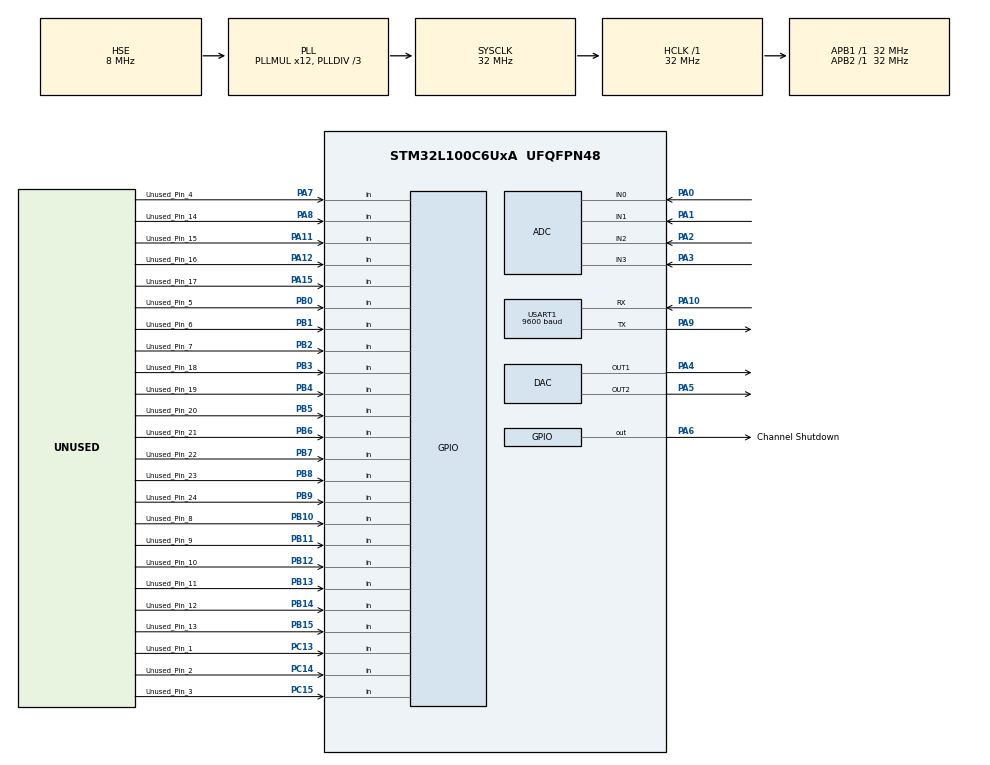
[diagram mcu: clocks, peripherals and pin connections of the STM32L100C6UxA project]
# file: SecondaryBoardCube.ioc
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ADC.Channel-0\#ChannelRegularConversion=ADC_CHANNEL_0
ADC.Channel-1\#ChannelRegularConversion=ADC_CHANNEL_1
ADC.Channel-2\#ChannelRegularConversion=ADC_CHANNEL_2
ADC.Channel-3\#ChannelRegularConversion=ADC_CHANNEL_3
ADC.Channel-4\#ChannelRegularConversion=ADC_CHANNEL_VREFINT
ADC.Channel-5\#ChannelRegularConversion=ADC_CHANNEL_TEMPSENSOR
ADC.ClockPrescaler=ADC_CLOCK_ASYNC_DIV4
ADC.ContinuousConvMode=ENABLE
ADC.DMAContinuousRequests=ENABLE
ADC.EnableAnalogWatchDog=true
ADC.HighThreshold=4095
ADC.ITMode=ENABLE
ADC.NbrOfConversion=6
ADC.NbrOfConversionFlag=1
ADC.Rank-0\#ChannelRegularConversion=1
ADC.Rank-1\#ChannelRegularConversion=2
ADC.Rank-2\#ChannelRegularConversion=3
ADC.Rank-3\#ChannelRegularConversion=4
ADC.Rank-4\#ChannelRegularConversion=5
ADC.Rank-5\#ChannelRegularConversion=6
ADC.SamplingTime-0\#ChannelRegularConversion=ADC_SAMPLETIME_192CYCLES
ADC.SamplingTime-1\#ChannelRegularConversion=ADC_SAMPLETIME_192CYCLES
ADC.SamplingTime-2\#ChannelRegularConversion=ADC_SAMPLETIME_192CYCLES
ADC.SamplingTime-3\#ChannelRegularConversion=ADC_SAMPLETIME_192CYCLES
ADC.SamplingTime-4\#ChannelRegularConversion=ADC_SAMPLETIME_192CYCLES
ADC.SamplingTime-5\#ChannelRegularConversion=ADC_SAMPLETIME_192CYCLES
ADC.ScanConvMode=ADC_SCAN_ENABLE
ADC.WatchdogChannel=ADC_CHANNEL_2
Dma.ADC.0.Direction=DMA_PERIPH_TO_MEMORY
Dma.ADC.0.Instance=DMA1_Channel1
Dma.ADC.0.MemDataAlignment=DMA_MDATAALIGN_HALFWORD
Dma.ADC.0.MemInc=DMA_MINC_ENABLE
Dma.ADC.0.Mode=DMA_CIRCULAR
Dma.ADC.0.PeriphDataAlignment=DMA_PDATAALIGN_HALFWORD
Dma.ADC.0.PeriphInc=DMA_PINC_DISABLE
Dma.ADC.0.Priority=DMA_PRIORITY_LOW
Dma.Request0=ADC
Dma.Request1=USART1_TX
Dma.Request2=USART1_RX
Dma.USART1_RX.2.Direction=DMA_PERIPH_TO_MEMORY
Dma.USART1_RX.2.Instance=DMA1_Channel5
Dma.USART1_RX.2.MemDataAlignment=DMA_MDATAALIGN_BYTE
Dma.USART1_RX.2.MemInc=DMA_MINC_ENABLE
Dma.USART1_RX.2.Mode=DMA_NORMAL
Dma.USART1_RX.2.PeriphDataAlignment=DMA_PDATAALIGN_BYTE
Dma.USART1_RX.2.PeriphInc=DMA_PINC_DISABLE
Dma.USART1_RX.2.Priority=DMA_PRIORITY_LOW
Dma.USART1_TX.1.Direction=DMA_MEMORY_TO_PERIPH
Dma.USART1_TX.1.Instance=DMA1_Channel4
Dma.USART1_TX.1.MemDataAlignment=DMA_MDATAALIGN_BYTE
Dma.USART1_TX.1.MemInc=DMA_MINC_ENABLE
Dma.USART1_TX.1.Mode=DMA_CIRCULAR
Dma.USART1_TX.1.PeriphDataAlignment=DMA_PDATAALIGN_BYTE
Dma.USART1_TX.1.PeriphInc=DMA_PINC_DISABLE
Dma.USART1_TX.1.Priority=DMA_PRIORITY_LOW
Mcu.Family=STM32L1
Mcu.Name=STM32L100C6UxA
Mcu.Package=UFQFPN48
NVIC.ADC1_IRQn=true\:0\:0\:false\:false\:true\:true\:true\:true
NVIC.DMA1_Channel1_IRQn=true\:0\:0\:false\:false\:true\:false\:true\:true
NVIC.DMA1_Channel4_IRQn=true\:0\:0\:false\:false\:true\:false\:true\:true
NVIC.DMA1_Channel5_IRQn=true\:0\:0\:false\:false\:true\:false\:true\:true
NVIC.PriorityGroup=NVIC_PRIORITYGROUP_4
NVIC.USART1_IRQn=true\:0\:0\:false\:false\:true\:true\:true\:true
PA0-WKUP1.Mode=IN0
PA0-WKUP1.Signal=ADC_IN0
PA1.Mode=IN1
PA1.Signal=ADC_IN1
PA10.Mode=Asynchronous
PA10.Signal=USART1_RX
PA11.GPIO_Label=Unused_Pin_15
PA11.Signal=GPIO_Input
PA12.GPIO_Label=Unused_Pin_16
PA12.Signal=GPIO_Input
PA13.Mode=Serial_Wire
PA13.Signal=SYS_JTMS-SWDIO
PA14.Mode=Serial_Wire
PA14.Signal=SYS_JTCK-SWCLK
PA15.GPIO_Label=Unused_Pin_17
PA15.Signal=GPIO_Input
PA2.Mode=IN2
PA2.Signal=ADC_IN2
PA3.Mode=IN3
PA3.Signal=ADC_IN3
PA4.Signal=COMP_DAC1_group
PA5.Signal=COMP_DAC2_group
PA6.GPIO_Label=Channel Shutdown
PA6.PinState=GPIO_PIN_SET
PA6.Signal=GPIO_Output
PA7.GPIO_Label=Unused_Pin_4
PA7.Signal=GPIO_Input
PA8.GPIO_Label=Unused_Pin_14
PA8.Signal=GPIO_Input
PA9.Mode=Asynchronous
PA9.Signal=USART1_TX
PB0.GPIO_Label=Unused_Pin_5
PB0.Signal=GPIO_Input
PB1.GPIO_Label=Unused_Pin_6
PB1.Signal=GPIO_Input
PB10.GPIO_Label=Unused_Pin_8
PB10.Signal=GPIO_Input
PB11.GPIO_Label=Unused_Pin_9
PB11.Signal=GPIO_Input
PB12.GPIO_Label=Unused_Pin_10
PB12.Signal=GPIO_Input
PB13.GPIO_Label=Unused_Pin_11
PB13.Signal=GPIO_Input
PB14.GPIO_Label=Unused_Pin_12
PB14.Signal=GPIO_Input
PB15.GPIO_Label=Unused_Pin_13
PB15.Signal=GPIO_Input
PB2.GPIO_Label=Unused_Pin_7
PB2.Signal=GPIO_Input
PB3.GPIO_Label=Unused_Pin_18
PB3.Signal=GPIO_Input
PB4.GPIO_Label=Unused_Pin_19
PB4.Signal=GPIO_Input
PB5.GPIO_Label=Unused_Pin_20
PB5.Signal=GPIO_Input
PB6.GPIO_Label=Unused_Pin_21
PB6.Signal=GPIO_Input
PB7.GPIO_Label=Unused_Pin_22
PB7.Signal=GPIO_Input
PB8.GPIO_Label=Unused_Pin_23
PB8.Signal=GPIO_Input
PB9.GPIO_Label=Unused_Pin_24
PB9.Signal=GPIO_Input
PC13-WKUP2.GPIO_Label=Unused_Pin_1
PC13-WKUP2.Signal=GPIO_Input
PC14-OSC32_IN.GPIO_Label=Unused_Pin_2
PC14-OSC32_IN.Signal=GPIO_Input
PC15-OSC32_OUT.GPIO_Label=Unused_Pin_3
PC15-OSC32_OUT.Signal=GPIO_Input
PH0-OSC_IN.Mode=HSE-External-Oscillator
PH0-OSC_IN.Signal=RCC_OSC_IN
PH1-OSC_OUT.Mode=HSE-External-Oscillator
PH1-OSC_OUT.Signal=RCC_OSC_OUT
ProjectManager.HeapSize=0x200
ProjectManager.StackSize=0x400
ProjectManager.TargetToolchain=STM32CubeIDE
RCC.48MHZClocksFreq_Value=48000000
RCC.AHBFreq_Value=32000000
RCC.APB1Freq_Value=32000000
RCC.APB1TimFreq_Value=32000000
RCC.APB2Freq_Value=32000000
RCC.APB2TimFreq_Value=32000000
RCC.HCLKFreq_Value=32000000
RCC.HSE_VALUE=8000000
RCC.HSI_VALUE=16000000
RCC.LSE_VALUE=32768
RCC.MSI_VALUE=2097000
RCC.PLLDIV=RCC_PLL_DIV3
RCC.PLLMUL=RCC_PLL_MUL12
RCC.PLLSourceVirtual=RCC_PLLSOURCE_HSE
RCC.SYSCLKFreq_VALUE=32000000
RCC.SYSCLKSource=RCC_SYSCLKSOURCE_PLLCLK
RCC.VCOOutputFreq_Value=96000000
SH.COMP_DAC1_group.0=DAC_OUT1,DAC_OUT1
SH.COMP_DAC2_group.0=DAC_OUT2,DAC_OUT2
USART1.BaudRate=9600
USART1.Parity=PARITY_ODD
USART1.VirtualMode=VM_ASYNC
USART1.WordLength=WORDLENGTH_9B
VP_ADC_TempSens_Input.Mode=IN-TempSens
VP_ADC_Vref_Input.Mode=IN-Vrefint
board=custom

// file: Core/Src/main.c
/* USER CODE BEGIN Header */
/**
  ******************************************************************************
  * @file           : main.c
  * @brief          : Main program body
  ******************************************************************************
  * @attention
  *
  * Copyright (c) 2022 STMicroelectronics.
  * All rights reserved.
  *
  * This software is licensed under terms that can be found in the LICENSE file
  * in the root directory of this software component.
  * If no LICENSE file comes with this software, it is provided AS-IS.
  *
  ******************************************************************************
  */
/* USER CODE END Header */
#include "main.h"

/* USER CODE BEGIN Includes */
#include "string.h"
#include "stdio.h"
/* USER CODE END Includes */

/* USER CODE BEGIN PD */
#define ADC_OPAMP adc_values_cpy[0]
#define ADC_LINEAR adc_values_cpy[1]
#define ADC_CURRENT adc_values_cpy[2]
#define ADC_SWITCHING adc_values_cpy[3]
#define ADC_VREF adc_values_cpy[4]

/* PID Control for the Linear Voltage Regulator ------------------------------*/
#define P 0.01
#define I 0.01
#define D 0
/* PID Linear Section End ----- */

/* USER CODE END PD */

ADC_HandleTypeDef hadc;
DMA_HandleTypeDef hdma_adc;

DAC_HandleTypeDef hdac;

UART_HandleTypeDef huart1;
DMA_HandleTypeDef hdma_usart1_tx;
DMA_HandleTypeDef hdma_usart1_rx;

/* USER CODE BEGIN PV */

uint8_t txbuffer[64];//Uart TX Buffer
uint8_t txbuffer_cpy[64];//Uart TX Buffer copy because transfer is circular
uint8_t rxbuffer[64];//Uart RX Buffer

//Channel numbers
float volt_set_main = 0.0;
float amp_set_main = 0.0;
//volatile float volt_set_aux = 0.0;
//volatile float amp_set_aux = 0.0;

float volt_set_main_old = 0.0;
float amp_set_main_old = 0.0;
//volatile float volt_set_aux_old = 0.0;
//volatile float amp_set_aux_old = 0.0;

//Array for the adc values and vars to hold them
volatile uint16_t adc_values[6];
uint16_t adc_values_cpy[6];
uint16_t* vrefptr = ((uint16_t*)VREFINT_CAL_ADDR_CMSIS);
int8_t chstat_main = 0;
//volatile int8_t chstat_aux_tx = 0;
//volatile int8_t chstat_aux_rx = 0;

//Globals for adc values
float lin_num = 0;
float cur_num = 0;
float op_num = 0;
float swi_num = 0;

//volatile float lin_num_aux = 0;
//volatile float cur_num_aux = 0;

/* USER CODE END PV */

void SystemClock_Config(void);
static void MX_GPIO_Init(void);
static void MX_DMA_Init(void);
static void MX_ADC_Init(void);
static void MX_DAC_Init(void);
static void MX_USART1_UART_Init(void);
/* USER CODE BEGIN PFP */

void ourInit(void);//Runs several Inits

/* ADC Section Begin ---------------------------------------------------------*/
void update_ADC_watchdog(float val);
/* ADC Section End -----------------------------------------------------------*/

/* USER CODE END PFP */

int main(void)
{

  /* MCU Configuration--------------------------------------------------------*/

  /* Reset of all peripherals, Initializes the Flash interface and the Systick. */
  HAL_Init();

  /* Configure the system clock */
  SystemClock_Config();

  /* Initialize all configured peripherals */
  MX_GPIO_Init();
  MX_DMA_Init();
  MX_ADC_Init();
  MX_DAC_Init();
  MX_USART1_UART_Init();
  /* USER CODE BEGIN 2 */
  ourInit();
  float error = 0;
  float derivative = 0;
  float integral = 0;
  float error_previous = 0;
  float correction = 0;
  float corrected_volt_set_main;
  uint16_t v1 = 0; // dac channel 1 is linear
  uint16_t v2 = 375; // dac channel 2 is switching
  float tmpv1;
  float tmpv2;
  float error_shutdown = 0;
  float derivative_shutdown = 0;
  float integral_shutdown = 0;
  float error_previous_shutdown = 0;
  float correction_shutdown = 0;
  float corrected_volt_set_main_shutdown;
  /* USER CODE END 2 */

  /* Infinite loop */
  while (1)
  {

    /* USER CODE BEGIN 3 */

	  //Control channel here

	  uint16_t vrefvalue = (uint16_t) *vrefptr;
	  float vddcalc = (float)3.0 * ((float)vrefvalue / (float)ADC_VREF);

	  float cur_num_temp = ((((float)3.0 * (float)ADC_CURRENT * (float)vrefvalue)/((float)ADC_VREF * (float)4095) / (float)20) / (float)0.15);
	  cur_num  = (cur_num_temp >= 0.0000) ? cur_num_temp : 0.0000;

	  float op_num_temp = ((float)3.0 * ((float)ADC_OPAMP * (float)4.0) * (float)vrefvalue)/((float)ADC_VREF * (float)4095) - ((float)cur_num * (float)0.35);
	  op_num  = (op_num_temp >= 0.0000) ? op_num_temp : 0.0000;

	  float lin_num_temp = ((float)3.0 * ((float)ADC_LINEAR * (float)4.0) * (float)vrefvalue)/((float)ADC_VREF * (float)4095) - ((float)cur_num * (float)0.35);
	  lin_num  = (lin_num_temp >= 0.0000) ? lin_num_temp : 0.0000;

	  float swi_num_temp = ((float)3.0 * ((float)ADC_SWITCHING * (float)5.0) * (float)vrefvalue)/((float)ADC_VREF * (float)4095);
	  swi_num  = (swi_num_temp >= 0.0000) ? swi_num_temp : 0.0000;

	  //PID
	  if (chstat_main) {
		  error = lin_num - volt_set_main;
		  integral += error;
		  if (integral > (float)4095.0) {
			  integral = (float)4095;
		  } else if (integral < (float)-4095.0) {
			  integral = (float)-4095.0;
		  }
		  derivative = error - error_previous;
		  error_previous = error;
		  correction = P * error + I * integral + D * derivative;
		  corrected_volt_set_main = volt_set_main - correction;
		  tmpv1 = (((((float)corrected_volt_set_main / (float)4.0) + ((float)0.446974063 / (float)4.0)) * (float)4095) / (float)vddcalc);
		  if (tmpv1 > 4095) {
			  tmpv1 = 4095;
		  } else if (tmpv1 < 0) {
			  tmpv1 = 0;
		  }
		  v1 = (uint16_t) tmpv1;
	  } else {
		  error_shutdown = op_num - volt_set_main;
		  integral_shutdown += error_shutdown;
		  if (integral_shutdown > (float)4095.0) {
			  integral_shutdown = (float)4095;
		  } else if (integral_shutdown < (float)-4095.0) {
			  integral_shutdown = (float)-4095.0;
		  }
		  derivative_shutdown = error_shutdown - error_previous_shutdown;
		  error_previous_shutdown = error_shutdown;
		  correction_shutdown = P * error_shutdown + I * integral_shutdown + D * derivative_shutdown;
		  corrected_volt_set_main_shutdown = volt_set_main - correction_shutdown;
		  tmpv1 = (((((float)corrected_volt_set_main_shutdown / (float)4.0) + ((float)0.446974063 / (float)4.0)) * (float)4095) / (float)vddcalc);
		  if (tmpv1 > 4095) {
			  tmpv1 = 4095;
		  } else if (tmpv1 < 0) {
			  tmpv1 = 0;
		  }
		  v1 = (uint16_t) tmpv1;
	  }
	  HAL_DAC_SetValue(&hdac, DAC_CHANNEL_1, DAC_ALIGN_12B_R, v1);

	  /*
	   * The calculation we do to determine what we need to set the dac for the switching regulator to is determined by the following formula
	   * 1.235 = (R3*R2*Vout + R1*R2Vdac) / (R3*R2 + R1*R3 + R1*R2) where R1 = 10k, R2 = 1.2k, R3 = 2K
	   * This equation would be a little cumbersome to calculate every time we loop so I have simplified it on paper to the following formula
	   * Vdac = 3.5403 - 0.2*Vout
	   */

	  if (volt_set_main != volt_set_main_old) {
		  tmpv2 = ((float)3.5403333 - ((float)0.2*((float)volt_set_main + (float)5.0))) * (float)4095 / (float)vddcalc;
		  if(tmpv2 < 375){
			  v2 = 375;
		  }
		  else if (tmpv2 > 4030) {
			  v2 = 4030;
		  }
		  else {
			  v2 = (uint16_t)tmpv2;
		  }
		  if(volt_set_main > volt_set_main_old){
			  //If the new voltage is greater than the old voltage set we need to increase the switching regulators voltage first
			  HAL_DAC_SetValue(&hdac, DAC_CHANNEL_2, DAC_ALIGN_12B_R, v2);
			  HAL_DAC_SetValue(&hdac, DAC_CHANNEL_1, DAC_ALIGN_12B_R, v1);
		  }
		  else if(volt_set_main < volt_set_main_old){
			  //If the new voltage is lower than the old voltage set we need to decrease the switching regulators voltage last
			  HAL_DAC_SetValue(&hdac, DAC_CHANNEL_1, DAC_ALIGN_12B_R, v1);
			  HAL_DAC_SetValue(&hdac, DAC_CHANNEL_2, DAC_ALIGN_12B_R, v2);
		  }
	  } else {
		  HAL_DAC_SetValue(&hdac, DAC_CHANNEL_1, DAC_ALIGN_12B_R, v1);
	  }

	  if(chstat_main == 1 && ADC_OPAMP >= 5){
		  HAL_GPIO_WritePin(Channel_Shutdown_GPIO_Port, Channel_Shutdown_Pin, GPIO_PIN_RESET);
	  }
	  else{
		  HAL_GPIO_WritePin(Channel_Shutdown_GPIO_Port, Channel_Shutdown_Pin, GPIO_PIN_SET);
	  }

	  //Keep the watchdog threshold up to date with changes to vdd
	  update_ADC_watchdog(amp_set_main);

  }
  /* USER CODE END 3 */
}

void SystemClock_Config(void)
{
  RCC_OscInitTypeDef RCC_OscInitStruct = {0};
  RCC_ClkInitTypeDef RCC_ClkInitStruct = {0};

  /** Configure the main internal regulator output voltage
  */
  __HAL_PWR_VOLTAGESCALING_CONFIG(PWR_REGULATOR_VOLTAGE_SCALE1);

  /** Initializes the RCC Oscillators according to the specified parameters
  * in the RCC_OscInitTypeDef structure.
  */
  RCC_OscInitStruct.OscillatorType = RCC_OSCILLATORTYPE_HSI|RCC_OSCILLATORTYPE_HSE;
  RCC_OscInitStruct.HSEState = RCC_HSE_ON;
  RCC_OscInitStruct.HSIState = RCC_HSI_ON;
  RCC_OscInitStruct.HSICalibrationValue = RCC_HSICALIBRATION_DEFAULT;
  RCC_OscInitStruct.PLL.PLLState = RCC_PLL_ON;
  RCC_OscInitStruct.PLL.PLLSource = RCC_PLLSOURCE_HSE;
  RCC_OscInitStruct.PLL.PLLMUL = RCC_PLL_MUL12;
  RCC_OscInitStruct.PLL.PLLDIV = RCC_PLL_DIV3;
  if (HAL_RCC_OscConfig(&RCC_OscInitStruct) != HAL_OK)
  {
    Error_Handler();
  }

  /** Initializes the CPU, AHB and APB buses clocks
  */
  RCC_ClkInitStruct.ClockType = RCC_CLOCKTYPE_HCLK|RCC_CLOCKTYPE_SYSCLK
                              |RCC_CLOCKTYPE_PCLK1|RCC_CLOCKTYPE_PCLK2;
  RCC_ClkInitStruct.SYSCLKSource = RCC_SYSCLKSOURCE_PLLCLK;
  RCC_ClkInitStruct.AHBCLKDivider = RCC_SYSCLK_DIV1;
  RCC_ClkInitStruct.APB1CLKDivider = RCC_HCLK_DIV1;
  RCC_ClkInitStruct.APB2CLKDivider = RCC_HCLK_DIV1;

  if (HAL_RCC_ClockConfig(&RCC_ClkInitStruct, FLASH_LATENCY_1) != HAL_OK)
  {
    Error_Handler();
  }
}

static void MX_ADC_Init(void)
{

  ADC_AnalogWDGConfTypeDef AnalogWDGConfig = {0};
  ADC_ChannelConfTypeDef sConfig = {0};

  /** Configure the global features of the ADC (Clock, Resolution, Data Alignment and number of conversion)
  */
  hadc.Instance = ADC1;
  hadc.Init.ClockPrescaler = ADC_CLOCK_ASYNC_DIV4;
  hadc.Init.Resolution = ADC_RESOLUTION_12B;
  hadc.Init.DataAlign = ADC_DATAALIGN_RIGHT;
  hadc.Init.ScanConvMode = ADC_SCAN_ENABLE;
  hadc.Init.EOCSelection = ADC_EOC_SEQ_CONV;
  hadc.Init.LowPowerAutoWait = ADC_AUTOWAIT_DISABLE;
  hadc.Init.LowPowerAutoPowerOff = ADC_AUTOPOWEROFF_DISABLE;
  hadc.Init.ChannelsBank = ADC_CHANNELS_BANK_A;
  hadc.Init.ContinuousConvMode = ENABLE;
  hadc.Init.NbrOfConversion = 6;
  hadc.Init.DiscontinuousConvMode = DISABLE;
  hadc.Init.ExternalTrigConv = ADC_SOFTWARE_START;
  hadc.Init.ExternalTrigConvEdge = ADC_EXTERNALTRIGCONVEDGE_NONE;
  hadc.Init.DMAContinuousRequests = ENABLE;
  if (HAL_ADC_Init(&hadc) != HAL_OK)
  {
    Error_Handler();
  }

  /** Configure the analog watchdog
  */
  AnalogWDGConfig.WatchdogMode = ADC_ANALOGWATCHDOG_SINGLE_REG;
  AnalogWDGConfig.Channel = ADC_CHANNEL_2;
  AnalogWDGConfig.ITMode = ENABLE;
  AnalogWDGConfig.HighThreshold = 4095;
  AnalogWDGConfig.LowThreshold = 0;
  if (HAL_ADC_AnalogWDGConfig(&hadc, &AnalogWDGConfig) != HAL_OK)
  {
    Error_Handler();
  }

  /** Configure for the selected ADC regular channel its corresponding rank in the sequencer and its sample time.
  */
  sConfig.Channel = ADC_CHANNEL_0;
  sConfig.Rank = ADC_REGULAR_RANK_1;
  sConfig.SamplingTime = ADC_SAMPLETIME_192CYCLES;
  if (HAL_ADC_ConfigChannel(&hadc, &sConfig) != HAL_OK)
  {
    Error_Handler();
  }

  /** Configure for the selected ADC regular channel its corresponding rank in the sequencer and its sample time.
  */
  sConfig.Channel = ADC_CHANNEL_1;
  sConfig.Rank = ADC_REGULAR_RANK_2;
  if (HAL_ADC_ConfigChannel(&hadc, &sConfig) != HAL_OK)
  {
    Error_Handler();
  }

  /** Configure for the selected ADC regular channel its corresponding rank in the sequencer and its sample time.
  */
  sConfig.Channel = ADC_CHANNEL_2;
  sConfig.Rank = ADC_REGULAR_RANK_3;
  if (HAL_ADC_ConfigChannel(&hadc, &sConfig) != HAL_OK)
  {
    Error_Handler();
  }

  /** Configure for the selected ADC regular channel its corresponding rank in the sequencer and its sample time.
  */
  sConfig.Channel = ADC_CHANNEL_3;
  sConfig.Rank = ADC_REGULAR_RANK_4;
  if (HAL_ADC_ConfigChannel(&hadc, &sConfig) != HAL_OK)
  {
    Error_Handler();
  }

  /** Configure for the selected ADC regular channel its corresponding rank in the sequencer and its sample time.
  */
  sConfig.Channel = ADC_CHANNEL_VREFINT;
  sConfig.Rank = ADC_REGULAR_RANK_5;
  if (HAL_ADC_ConfigChannel(&hadc, &sConfig) != HAL_OK)
  {
    Error_Handler();
  }

  /** Configure for the selected ADC regular channel its corresponding rank in the sequencer and its sample time.
  */
  sConfig.Channel = ADC_CHANNEL_TEMPSENSOR;
  sConfig.Rank = ADC_REGULAR_RANK_6;
  if (HAL_ADC_ConfigChannel(&hadc, &sConfig) != HAL_OK)
  {
    Error_Handler();
  }

}

static void MX_DAC_Init(void)
{

  DAC_ChannelConfTypeDef sConfig = {0};

  /** DAC Initialization
  */
  hdac.Instance = DAC;
  if (HAL_DAC_Init(&hdac) != HAL_OK)
  {
    Error_Handler();
  }

  /** DAC channel OUT1 config
  */
  sConfig.DAC_Trigger = DAC_TRIGGER_NONE;
  sConfig.DAC_OutputBuffer = DAC_OUTPUTBUFFER_ENABLE;
  if (HAL_DAC_ConfigChannel(&hdac, &sConfig, DAC_CHANNEL_1) != HAL_OK)
  {
    Error_Handler();
  }

  /** DAC channel OUT2 config
  */
  if (HAL_DAC_ConfigChannel(&hdac, &sConfig, DAC_CHANNEL_2) != HAL_OK)
  {
    Error_Handler();
  }

}

static void MX_USART1_UART_Init(void)
{

  huart1.Instance = USART1;
  huart1.Init.BaudRate = 9600;
  huart1.Init.WordLength = UART_WORDLENGTH_9B;
  huart1.Init.StopBits = UART_STOPBITS_1;
  huart1.Init.Parity = UART_PARITY_ODD;
  huart1.Init.Mode = UART_MODE_TX_RX;
  huart1.Init.HwFlowCtl = UART_HWCONTROL_NONE;
  huart1.Init.OverSampling = UART_OVERSAMPLING_16;
  if (HAL_UART_Init(&huart1) != HAL_OK)
  {
    Error_Handler();
  }

}

static void MX_DMA_Init(void)
{

  /* DMA controller clock enable */
  __HAL_RCC_DMA1_CLK_ENABLE();

  /* DMA interrupt init */
  /* DMA1_Channel1_IRQn interrupt configuration */
  HAL_NVIC_SetPriority(DMA1_Channel1_IRQn, 0, 0);
  HAL_NVIC_EnableIRQ(DMA1_Channel1_IRQn);
  /* DMA1_Channel4_IRQn interrupt configuration */
  HAL_NVIC_SetPriority(DMA1_Channel4_IRQn, 0, 0);
  HAL_NVIC_EnableIRQ(DMA1_Channel4_IRQn);
  /* DMA1_Channel5_IRQn interrupt configuration */
  HAL_NVIC_SetPriority(DMA1_Channel5_IRQn, 0, 0);
  HAL_NVIC_EnableIRQ(DMA1_Channel5_IRQn);

}

static void MX_GPIO_Init(void)
{
  GPIO_InitTypeDef GPIO_InitStruct = {0};

  /* GPIO Ports Clock Enable */
  __HAL_RCC_GPIOC_CLK_ENABLE();
  __HAL_RCC_GPIOH_CLK_ENABLE();
  __HAL_RCC_GPIOA_CLK_ENABLE();
  __HAL_RCC_GPIOB_CLK_ENABLE();

  /*Configure GPIO pin Output Level */
  HAL_GPIO_WritePin(Channel_Shutdown_GPIO_Port, Channel_Shutdown_Pin, GPIO_PIN_SET);

  /*Configure GPIO pins : Unused_Pin_1_Pin Unused_Pin_2_Pin Unused_Pin_3_Pin */
  GPIO_InitStruct.Pin = Unused_Pin_1_Pin|Unused_Pin_2_Pin|Unused_Pin_3_Pin;
  GPIO_InitStruct.Mode = GPIO_MODE_INPUT;
  GPIO_InitStruct.Pull = GPIO_NOPULL;
  HAL_GPIO_Init(GPIOC, &GPIO_InitStruct);

  /*Configure GPIO pin : Channel_Shutdown_Pin */
  GPIO_InitStruct.Pin = Channel_Shutdown_Pin;
  GPIO_InitStruct.Mode = GPIO_MODE_OUTPUT_PP;
  GPIO_InitStruct.Pull = GPIO_NOPULL;
  GPIO_InitStruct.Speed = GPIO_SPEED_FREQ_LOW;
  HAL_GPIO_Init(Channel_Shutdown_GPIO_Port, &GPIO_InitStruct);

  /*Configure GPIO pins : Unused_Pin_4_Pin Unused_Pin_14_Pin Unused_Pin_15_Pin Unused_Pin_16_Pin
                           Unused_Pin_17_Pin */
  GPIO_InitStruct.Pin = Unused_Pin_4_Pin|Unused_Pin_14_Pin|Unused_Pin_15_Pin|Unused_Pin_16_Pin
                          |Unused_Pin_17_Pin;
  GPIO_InitStruct.Mode = GPIO_MODE_INPUT;
  GPIO_InitStruct.Pull = GPIO_NOPULL;
  HAL_GPIO_Init(GPIOA, &GPIO_InitStruct);

  /*Configure GPIO pins : Unused_Pin_5_Pin Unused_Pin_6_Pin Unused_Pin_7_Pin Unused_Pin_8_Pin
                           Unused_Pin_9_Pin Unused_Pin_10_Pin Unused_Pin_11_Pin Unused_Pin_12_Pin
                           Unused_Pin_13_Pin Unused_Pin_18_Pin Unused_Pin_19_Pin Unused_Pin_20_Pin
                           Unused_Pin_21_Pin Unused_Pin_22_Pin Unused_Pin_23_Pin Unused_Pin_24_Pin */
  GPIO_InitStruct.Pin = Unused_Pin_5_Pin|Unused_Pin_6_Pin|Unused_Pin_7_Pin|Unused_Pin_8_Pin
                          |Unused_Pin_9_Pin|Unused_Pin_10_Pin|Unused_Pin_11_Pin|Unused_Pin_12_Pin
                          |Unused_Pin_13_Pin|Unused_Pin_18_Pin|Unused_Pin_19_Pin|Unused_Pin_20_Pin
                          |Unused_Pin_21_Pin|Unused_Pin_22_Pin|Unused_Pin_23_Pin|Unused_Pin_24_Pin;
  GPIO_InitStruct.Mode = GPIO_MODE_INPUT;
  GPIO_InitStruct.Pull = GPIO_NOPULL;
  HAL_GPIO_Init(GPIOB, &GPIO_InitStruct);

}

/* USER CODE BEGIN 4 */

void ourInit(void){
	HAL_GPIO_WritePin(Channel_Shutdown_GPIO_Port, Channel_Shutdown_Pin, GPIO_PIN_SET);	//Ensure shutdown is enabled
	/*
	 * The HAL library is dumb and tries to init the adc before the DMA which does not work
	 * if the ADC is using the DMA. This init code is placed in space reserved for CubeMx so
	 * manually reordering it will be overwritten every time we regenerate code.
	 */
	HAL_ADC_DeInit(&hadc);
	HAL_DMA_DeInit(&hdma_adc);
	MX_DMA_Init();
	MX_ADC_Init();

	//Actually our init now
	HAL_ADC_Start_DMA(&hadc, (uint32_t*)&adc_values, 6);// start the adc in dma mode
	HAL_DAC_Start(&hdac, DAC_CHANNEL_1);
	HAL_DAC_Start(&hdac, DAC_CHANNEL_2);
	HAL_DAC_SetValue(&hdac, DAC_CHANNEL_1, DAC_ALIGN_12B_R, 0);
	HAL_DAC_SetValue(&hdac, DAC_CHANNEL_2, DAC_ALIGN_12B_R, 375);
	//USB_EXTIinit();
	//Ensure keypad columns output 0 by default
	//HAL_GPIO_WritePin(Col_1_GPIO_Port, Col_1_Pin|Col_2_Pin|Col_3_Pin|Col_4_Pin, GPIO_PIN_RESET);

	//LCD Init
	//lcd_psu_init();
	//Start display timer
	//HAL_TIM_Base_Start_IT(&htim3);

	memset (txbuffer, '\0', 64);  // clear the buffer
	memset (txbuffer_cpy, '\0', 64);  // clear the buffer
	memset (rxbuffer, '\0', 64);  // clear the buffer

	//strncpy((char*)txbuffer, "Hello World From Second MCU\n", 64);

	snprintf((char*)txbuffer, 32, "*STRT,%5.2f,%5.3f,%d,FNSH!", lin_num, cur_num, chstat_main);

	HAL_UART_Transmit_DMA(&huart1, txbuffer, 64);

	HAL_UART_Receive_DMA (&huart1, rxbuffer, 64);  // Receive 64 Bytes of data
}

/* ADC Section Begin ---------------------------------------------------------*/
void update_ADC_watchdog(float val){
	//Don't want to stop the dma/adc and deinit/reinit it to change the watchdog, plus we need to calculate vdd to get a good value

	uint16_t vrefvalue = (uint16_t) *vrefptr;
	float vddcalc = (float)3.0 * ((float)vrefvalue / (float)ADC_VREF);
	volatile uint16_t amp = (uint16_t)( ((float)val * (float)0.15 * (float)20.0) * (float)4095 / (float)vddcalc);

	//Special case for "unlimited" current
	if(val == 0.0){
		ADC1->HTR = 4095;
	}
	else if(amp >= 4095.0){
		ADC1->HTR = 4095;
	}
	else if(amp < 0.0){
		//How?
		ADC1->HTR = 0;
	}
	else{
		ADC1->HTR = amp;
	}
}
/* ADC Section End -----------------------------------------------------------*/

void HAL_ADC_ConvHalfCpltCallback(ADC_HandleTypeDef* hadc){
	adc_values_cpy[0] = adc_values[0];
	adc_values_cpy[1] = adc_values[1];
	adc_values_cpy[2] = adc_values[2];
}

void HAL_ADC_ConvCpltCallback(ADC_HandleTypeDef* hadc){
	adc_values_cpy[3] = adc_values[3];
	adc_values_cpy[4] = adc_values[4];
	adc_values_cpy[5] = adc_values[5];
}

void HAL_ADC_LevelOutOfWindowCallback(ADC_HandleTypeDef* hadc)
{
	HAL_GPIO_WritePin(Channel_Shutdown_GPIO_Port, Channel_Shutdown_Pin, GPIO_PIN_SET);
	chstat_main = 2;
}

/* Interrupt Callback Section Begin ------------------------------------------*/

void HAL_UART_TxHalfCpltCallback(UART_HandleTypeDef *huart){
	/*
	 * The buffer is 64 bytes wide, the message is 32 bytes wide, this allows us to do some processing between messages
	 * as well as catch messages we are receiving if they aren't synchronized
	 * When half complete we have just sent out the message we want to send and the remaining 32 bytes are all 0
	 * During this stage of sending 0's we can copy the next message into our buffer because we don't care about
	 * overwriting 0s
	 */
	memcpy(txbuffer, txbuffer_cpy, 64);  // copy the data to the buffer
}

void HAL_UART_TxCpltCallback(UART_HandleTypeDef *huart){
	/*
	 * The buffer is 64 bytes wide, the message is 32 bytes wide, this allows us to do some processing between messages
	 * as well as catch messages we are receiving if they aren't synchronized
	 * When complete we have just sent out a bunch of 0s and are preparing to send out the next message
	 * During this stage we don't want to overwrite the first half of the buffer because we are currently sending it
	 * but we can prepare the next message to send
	 */
	memset (txbuffer_cpy, '\0', 64);  // clear the buffer
	snprintf((char*)txbuffer_cpy, 32, "*STRT,%05.2f,%5.3f,%d,FNSH!", lin_num, cur_num, chstat_main);
}

void HAL_UART_RxHalfCpltCallback(UART_HandleTypeDef *huart){
  //do nothing cause we're a lazy receiver
}

void HAL_UART_RxCpltCallback(UART_HandleTypeDef *huart){
  /*
   * Messages are structured as follows *STRT,00.00,0.000,0,FNSH!
   * Here we will search for the unique start character * and check that the
   * full 25 character string is correct. We may have to wrap around our buffer
   * since we may begin reading at any point in the transmission.
   */
	uint8_t rxiter = 0;
	for(int i = 0; i < 64; i++){
		if(rxbuffer[i] == '*'){
			rxiter = i;//Found start condition
			break;
		}
	}
	uint8_t rxbuffercpy[32];
	memset (rxbuffercpy, '\0', 32);  // clear the buffer
	//Copy our message into a buffer that isn't offset
	for(int i = 0; i < 25; i++){
		rxbuffercpy[i] = rxbuffer[rxiter];
		rxiter++;
		if(rxiter >= 64){
			rxiter = 0;
		}
	}

	if( //Check start condition
		(rxbuffercpy[0] == '*' && rxbuffercpy[1] == 'S' && rxbuffercpy[2] == 'T' && rxbuffercpy[3] == 'R' && rxbuffercpy[4] == 'T') &&
		//Check finish condition
		(rxbuffercpy[20] == 'F' && rxbuffercpy[21] == 'N' && rxbuffercpy[22] == 'S' && rxbuffercpy[23] == 'H' && rxbuffercpy[24] == '!') &&
		//Check commas
		(rxbuffercpy[5] == ',' && rxbuffercpy[11] == ',' && rxbuffercpy[17] == ',' && rxbuffercpy[19] == ',') &&
		//Check voltage
		((rxbuffercpy[6] >= '0' && rxbuffercpy[6] <= '9') && (rxbuffercpy[7] >= '0' && rxbuffercpy[7] <= '9') && rxbuffercpy[8] == '.' &&
		(rxbuffercpy[9] >= '0' && rxbuffercpy[9] <= '9') && (rxbuffercpy[10] >= '0' && rxbuffercpy[10] <= '9')) &&
		//Check amperage
		((rxbuffercpy[12] >= '0' && rxbuffercpy[12] <= '9') && rxbuffercpy[13] == '.' && (rxbuffercpy[14] >= '0' && rxbuffercpy[14] <= '9') &&
		(rxbuffercpy[15] >= '0' && rxbuffercpy[15] <= '9') && (rxbuffercpy[16] >= '0' && rxbuffercpy[16] <= '9')) &&
		//Check chstat_main
		(rxbuffercpy[18] == '0' || rxbuffercpy[18] == '1' || rxbuffercpy[18] == '2')
			){
		//Valid message
		float tempv2 = 0;
		float tempa2 = 0;

		tempv2 += (float)(rxbuffercpy[6]-48) * (float)10.0;
		tempv2 += (float)(rxbuffercpy[7]-48) * (float)1.0;
		tempv2 += (float)(rxbuffercpy[9]-48) / (float)10.0;
		tempv2 += (float)(rxbuffercpy[10]-48) / (float)100.0;

		tempa2 += (float)(rxbuffercpy[12]-48) * (float)1.0;
		tempa2 += (float)(rxbuffercpy[14]-48) / (float)10.0;
		tempa2 += (float)(rxbuffercpy[15]-48) / (float)100.0;
		tempa2 += (float)(rxbuffercpy[16]-48) / (float)1000.0;

		if(tempv2 >= 0.00 && tempv2 <= 12.00){
			volt_set_main_old = volt_set_main;
			volt_set_main = tempv2;
		}
		if(tempa2 >= 0.00 && tempa2 <= 0.8001){
			amp_set_main_old = amp_set_main;
			amp_set_main = tempa2;
		}

		int8_t chstat_temp = rxbuffercpy[18]-48;
		//If we are shutdown we can accept a channel enable request
		if(chstat_main == 0){
			if(chstat_temp == 1){
				chstat_main = chstat_temp;
			}
		}
		//If we are active we can accept a channel shutdown request
		else if(chstat_main == 1){
			if(chstat_temp == 0){
				chstat_main = 0;
			}
		}
		//If we are current limited we can accept a channel shutdown request
		else if(chstat_main == 2){
			if(chstat_temp == 0){
				chstat_main = 0;
			}
		}
	}

	memset (rxbuffer, '\0', 64);  // clear the buffer
	HAL_UART_Receive_DMA (&huart1, rxbuffer, 64);  // Receive 64 Bytes of data
}

void HAL_UART_ErrorCallback(UART_HandleTypeDef *huart){
	HAL_UART_Receive_DMA (&huart1, rxbuffer, 64); //Try again!
}
/* Interrupt Callback Section End ----------------------------------------*/

/* USER CODE END 4 */

void Error_Handler(void)
{
  __disable_irq();
  while (1)
  {
  }
}
